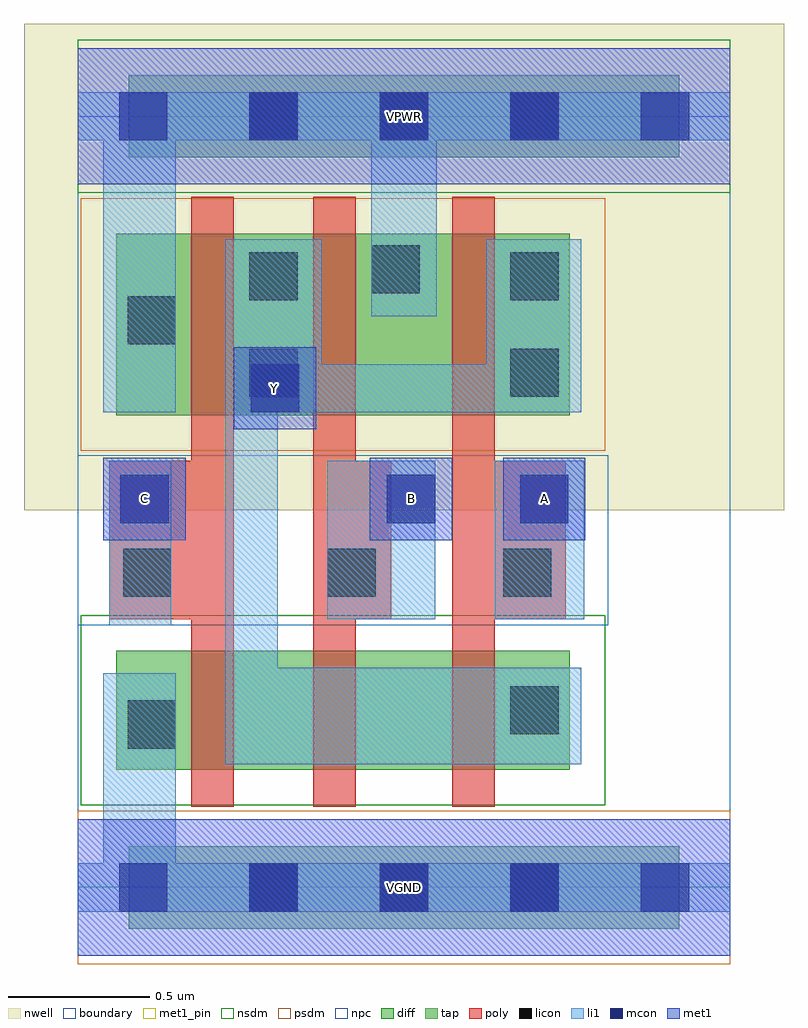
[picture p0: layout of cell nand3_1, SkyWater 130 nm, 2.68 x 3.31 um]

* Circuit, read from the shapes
.subckt nand3_1 A B C VGND VPWR Y
XM1 n1 C VGND VGND sky130_fd_pr__nfet_01v8 w=0.42 l=0.15
XM2 n2 B n1 VGND sky130_fd_pr__nfet_01v8 w=0.42 l=0.15
XM3 Y A n2 VGND sky130_fd_pr__nfet_01v8 w=0.42 l=0.15
XM4 Y C VPWR VPWR sky130_fd_pr__pfet_01v8 w=0.64 l=0.15
XM5 VPWR B Y VPWR sky130_fd_pr__pfet_01v8 w=0.64 l=0.15
XM6 Y A VPWR VPWR sky130_fd_pr__pfet_01v8 w=0.64 l=0.15
.ends

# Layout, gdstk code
import gdstk
lib = gdstk.Library(unit=1e-6, precision=1e-09)
def R(c, l, rs):  # rectangles x0, y0, x1, y1
    for r in rs: c.add(gdstk.rectangle(r[:2], r[2:], *l))
def A(c, l, x, y, w, h, nx, ny, dx, dy):  # array of equal rectangles
    R(c, l, [(x+i*dx, y+j*dy, x+i*dx+w, y+j*dy+h) for i in range(nx) for j in range(ny)])
nwell = (64, 20)
diff = (65, 20)
tap = (65, 44)
poly = (66, 20)
licon = (66, 44)
li1 = (67, 20)
mcon = (67, 44)
met1_pin = (68, 16)
met1 = (68, 20)
nsdm = (93, 44)
psdm = (94, 20)
npc = (95, 20)
boundary = (235, 4)

nand3_1 = lib.new_cell('nand3_1')
R(nand3_1, nwell, [(-0.19,1.33,2.49,3.045), (0,1.33,2.3,3.045)])
R(nand3_1, diff, [(0.135,0.415,1.735,0.835), (0.135,1.665,1.735,2.305)])
R(nand3_1, tap, [(0.18,-0.145,2.12,0.145), (0.18,2.575,2.12,2.865)])
R(nand3_1, poly, [(0.4,0.285,0.55,2.435), (0.83,0.285,0.98,2.435), (1.32,0.285,1.47,2.435), (0.11,0.945,0.55,1.505), (0.83,0.945,1.105,1.505), (1.32,0.945,1.72,1.505)])
A(nand3_1, licon, 0.605, -0.085, 0.17, 0.17, 3, 2, 0.46, 2.72)
R(nand3_1, licon, [(0.175,0.49,0.345,0.66), (1.525,0.54,1.695,0.71), (0.16,1.025,0.33,1.195), (0.88,1.025,1.05,1.195), (1.5,1.025,1.67,1.195), (0.605,1.73,0.775,1.9), (1.525,1.73,1.695,1.9), (0.175,1.915,0.345,2.085), (0.605,2.07,0.775,2.24), (1.525,2.07,1.695,2.24), (1.035,2.095,1.205,2.265)])
R(nand3_1, li1, [(0,-0.085,2.3,0.085), (0.09,-0.085,0.345,0.755), (0.52,0.435,1.775,0.775), (0.52,0.435,0.705,2.285), (1.44,0.435,1.775,0.775), (0.11,0.925,0.33,1.505), (0.88,0.945,1.26,1.505), (1.47,0.945,1.785,1.505), (0.09,1.675,0.345,2.805), (0.52,1.675,0.86,2.285), (0.52,1.675,1.775,1.845), (1.44,1.675,1.775,2.285), (1.035,2.015,1.265,2.805), (0,2.635,2.3,2.805)])
A(nand3_1, mcon, 0.145, -0.085, 0.17, 0.17, 5, 2, 0.46, 2.72)
R(nand3_1, mcon, [(0.15,1.285,0.32,1.455), (1.09,1.285,1.26,1.455), (1.56,1.285,1.73,1.455), (0.61,1.675,0.78,1.845)])
R(nand3_1, met1_pin, [(0,-0.24,2.3,0.24), (0.09,1.225,0.38,1.515), (1.03,1.225,1.32,1.515), (1.5,1.225,1.79,1.515), (0.55,1.615,0.84,1.905), (0,2.48,2.3,2.96)])
R(nand3_1, met1, [(0,-0.24,2.3,0.24), (0.09,1.225,0.38,1.515), (1.03,1.225,1.32,1.515), (1.5,1.225,1.79,1.515), (0.55,1.615,0.84,1.905), (0,2.48,2.3,2.96)])
R(nand3_1, nsdm, [(0.01,0.29,1.86,0.96), (0,2.45,2.3,2.99)])
R(nand3_1, psdm, [(0,-0.27,2.3,0.27), (0.01,1.54,1.86,2.43)])
R(nand3_1, npc, [(0,0.925,1.87,1.525)])
R(nand3_1, boundary, [(0,0,2.3,2.72)])
nand3_1.add(gdstk.Label('A', (1.645,1.37), layer=68, texttype=5))
nand3_1.add(gdstk.Label('B', (1.175,1.37), layer=68, texttype=5))
nand3_1.add(gdstk.Label('C', (0.235,1.37), layer=68, texttype=5))
nand3_1.add(gdstk.Label('Y', (0.695,1.76), layer=68, texttype=5))
nand3_1.add(gdstk.Label('VPWR', (1.15,2.72), layer=68, texttype=5))
nand3_1.add(gdstk.Label('VGND', (1.15,0), layer=68, texttype=5))
nand3_1.add(gdstk.Label('A', (1.645,1.37), layer=68, texttype=16))
nand3_1.add(gdstk.Label('B', (1.175,1.37), layer=68, texttype=16))
nand3_1.add(gdstk.Label('C', (0.235,1.37), layer=68, texttype=16))
nand3_1.add(gdstk.Label('Y', (0.695,1.76), layer=68, texttype=16))
nand3_1.add(gdstk.Label('VPWR', (1.15,2.72), layer=68, texttype=16))
nand3_1.add(gdstk.Label('VGND', (1.15,0), layer=68, texttype=16))

lib.write_gds('nand3_1.gds')
